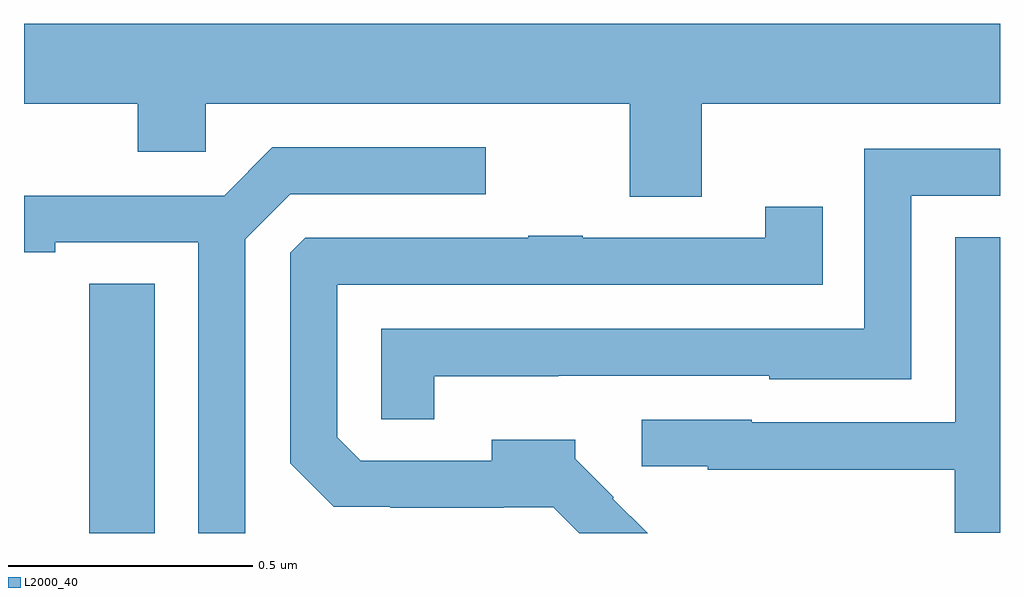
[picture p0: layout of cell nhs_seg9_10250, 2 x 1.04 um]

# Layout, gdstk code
import gdstk
lib = gdstk.Library(unit=1e-6, precision=1e-09)
def R(c, l, rs):  # rectangles x0, y0, x1, y1
    for r in rs: c.add(gdstk.rectangle(r[:2], r[2:], *l))
def P(c, l, *ps):  # polygons
    for p in ps: c.add(gdstk.Polygon(p, *l))
L2000_40 = (2000, 40)

nhs_seg9_10250 = lib.new_cell('nhs_seg9_10250')
R(nhs_seg9_10250, L2000_40, [(240.134,1235.5,240.268,1236.011)])
P(nhs_seg9_10250, L2000_40, [(241.389,1236.38),(242,1236.38),(242,1236.544),(240,1236.544),(240,1236.38),(240.233,1236.38),(240.233,1236.282),(240.372,1236.282),(240.372,1236.38),(241.241,1236.38),(241.241,1236.19),(241.389,1236.19)],
  [(240.453,1236.102),(240.546,1236.195),(240.946,1236.195),(240.946,1236.291),(240.509,1236.291),(240.41,1236.192),(240,1236.192),(240,1236.076),(240.064,1236.076),(240.064,1236.096),(240.357,1236.096),(240.357,1235.5),(240.453,1235.5)],
  [(240.841,1235.822),(241.095,1235.822),(241.095,1235.823),(241.527,1235.823),(241.527,1235.816),(241.818,1235.816),(241.818,1236.192),(242,1236.192),(242,1236.288),(241.722,1236.288),(241.722,1235.919),(240.732,1235.919),(240.732,1235.734),(240.841,1235.734)],
  [(241.206,1235.571),(241.209,1235.574),(241.13,1235.653),(241.13,1235.692),(240.959,1235.692),(240.959,1235.649),(240.69,1235.649),(240.642,1235.697),(240.642,1236.009),(241.637,1236.009),(241.637,1236.169),(241.519,1236.169),(241.519,1236.105),(241.145,1236.105),(241.145,1236.11),(241.033,1236.11),(241.033,1236.105),(240.576,1236.105),(240.546,1236.075),(240.546,1235.643),(240.635,1235.554),(240.751,1235.554),(240.751,1235.552),(240.983,1235.552),(240.983,1235.553),(241.085,1235.553),(241.138,1235.5),(241.278,1235.5)],
  [(242,1236.107),(241.908,1236.107),(241.908,1235.727),(241.491,1235.727),(241.491,1235.733),(241.266,1235.733),(241.266,1235.637),(241.401,1235.637),(241.401,1235.63),(241.907,1235.63),(241.907,1235.501),(242,1235.501)])

lib.write_gds('nhs_seg9_10250.gds')
